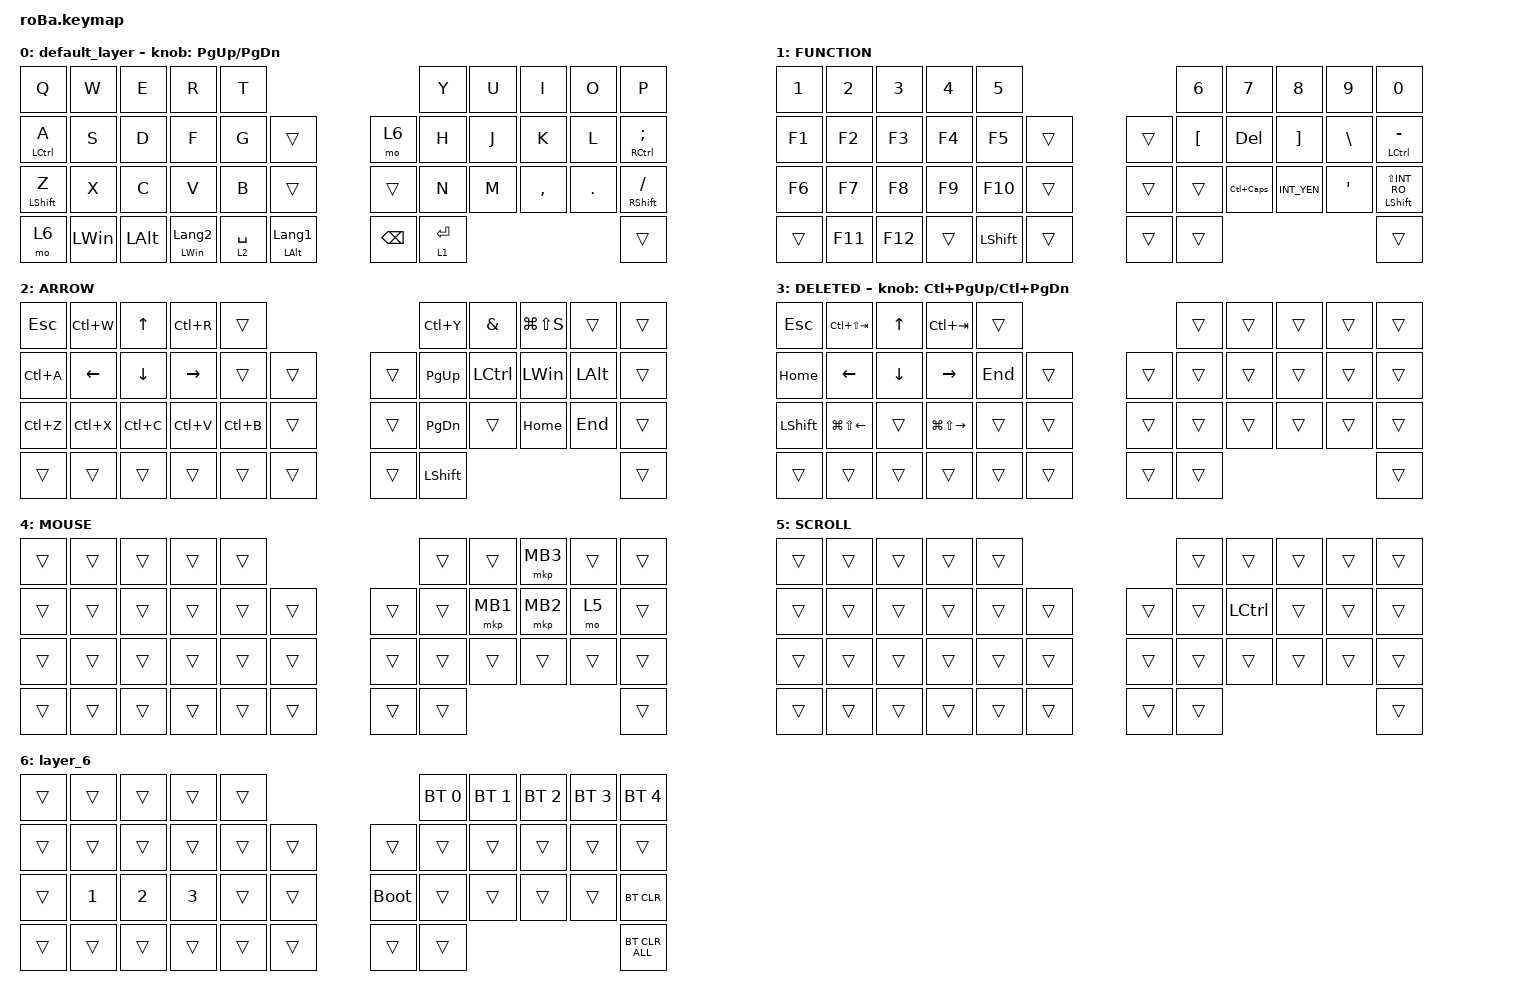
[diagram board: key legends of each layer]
#include <behaviors.dtsi>
#include <dt-bindings/zmk/bt.h>
#include <dt-bindings/zmk/keys.h>
#include <dt-bindings/zmk/pointing.h>

&mt {
    flavor = "balanced";
    quick-tap-ms = <200>;
};

&trackball {
    // automouse-layer = <4>;

    scroll-layers = <5>;

    // arrows {
    //     layers = <3>;
    //     bindings =
    //         <&kp RIGHT_ARROW>,
    //         <&kp LEFT_ARROW>,
    //         <&kp UP_ARROW>,
    //         <&kp DOWN_ARROW>;
    //     tick = <10>;
    //     wait-ms = <5>;
    //     tap-ms = <5>;
    // };
};

/ {
    combos {
        compatible = "zmk,combos";

        shift_tab {
            bindings = <&kp LS(TAB)>;
            key-positions = <11 12>;
        };

        tab {
            bindings = <&kp TAB>;
            key-positions = <12 13>;
        };

        prev {
            bindings = <&kp LA(LEFT_ARROW)>;
            key-positions = <19 18>;
        };

        next {
            bindings = <&kp LA(RIGHT_ARROW)>;
            key-positions = <19 20>;
        };

        prev_tab {
            bindings = <&kp LC(LS(TAB))>;
            key-positions = <30 31>;
        };

        next_tab {
            bindings = <&kp LC(TAB)>;
            key-positions = <31 32>;
        };

        prev_desk {
            bindings = <&kp LC(LG(LEFT))>;
            key-positions = <24 23>;
        };

        next_desk {
            bindings = <&kp LC(LG(RIGHT))>;
            key-positions = <24 25>;
        };

        reopen_tab {
            bindings = <&kp LS(LC(T))>;
            key-positions = <6 7>;
        };

        close_tab {
            bindings = <&kp LC(W)>;
            key-positions = <8 7>;
        };

        win_left {
            bindings = <&kp LG(LEFT_ARROW)>;
            key-positions = <1 2>;
        };

        win_right {
            bindings = <&kp LG(RIGHT_ARROW)>;
            key-positions = <2 3>;
        };
    };

    macros {
        to_layer_0: to_layer_0 {
            compatible = "zmk,behavior-macro-one-param";
            #binding-cells = <1>;
            bindings = <&to 0 &macro_param_1to1 &kp MACRO_PLACEHOLDER>;
            label = "TO_LAYER_0";
        };
    };

    behaviors {
        lt_to_layer_0: lt_to_layer_0 {
            compatible = "zmk,behavior-hold-tap";
            label = "LAYER_TAP_TO_0";
            bindings = <&mo>, <&to_layer_0>;

            #binding-cells = <2>;
            tapping-term-ms = <200>;
        };
    };

    keymap {
        compatible = "zmk,keymap";

        default_layer {
            bindings = <
&kp Q             &kp W         &kp E         &kp R                    &kp T                                                    &kp Y        &kp U  &kp I      &kp O    &kp P
&mt LCTRL A       &kp S         &kp D         &kp F                    &kp G        &trans                       &mo 6          &kp H        &kp J  &kp K      &kp L    &mt RCTRL SEMICOLON
&mt LEFT_SHIFT Z  &kp X         &kp C         &kp V                    &kp B        &trans                       &trans         &kp N        &kp M  &kp COMMA  &kp DOT  &mt RIGHT_SHIFT SLASH
&mo 6             &kp LEFT_WIN  &kp LEFT_ALT  &mt LEFT_WIN LANGUAGE_2  &lt 2 SPACE  &mt LEFT_ALT LANGUAGE_1      &kp BACKSPACE  &lt 1 ENTER                             &trans
            >;

            sensor-bindings = <&inc_dec_kp PG_UP PAGE_DOWN>;
        };

        FUNCTION {
            bindings = <
&kp NUMBER_1  &kp NUMBER_2  &kp NUMBER_3  &kp NUMBER_4  &kp NUMBER_5                        &kp NUMBER_6      &kp NUMBER_7      &kp NUMBER_8  &kp NUMBER_9      &kp NUMBER_0
&kp F1        &kp F2        &kp F3        &kp F4        &kp F5          &trans      &trans  &kp LEFT_BRACKET  &kp DEL           &kp RBKT      &kp BSLH          &mt LCTRL MINUS
&kp F6        &kp F7        &kp F8        &kp F9        &kp F10         &trans      &trans  &trans            &kp LC(CAPSLOCK)  &kp INT_YEN   &kp SINGLE_QUOTE  &mt LEFT_SHIFT LS(INT_RO)
&trans        &kp F11       &kp F12       &trans        &kp LEFT_SHIFT  &trans      &trans  &trans                                                              &trans
            >;
        };

        ARROW {
            bindings = <
&kp ESCAPE  &kp LC(W)  &kp UP_ARROW  &kp LC(R)  &trans                         &kp LC(Y)       &kp AMPERSAND  &kp LG(LS(S))  &trans        &trans
&kp LC(A)   &kp LEFT   &kp DOWN      &kp RIGHT  &trans     &trans      &trans  &kp PAGE_UP     &kp LCTRL      &kp LEFT_WIN   &kp LEFT_ALT  &trans
&kp LC(Z)   &kp LC(X)  &kp LC(C)     &kp LC(V)  &kp LC(B)  &trans      &trans  &kp PAGE_DOWN   &trans         &kp HOME       &kp END       &trans
&trans      &trans     &trans        &trans     &trans     &trans      &trans  &kp LEFT_SHIFT                                              &trans
            >;
        };

        DELETED {
            bindings = <
&kp ESCAPE      &kp LC(LS(TAB))         &kp UP_ARROW    &kp LC(TAB)              &trans                       &trans  &trans  &trans  &trans  &trans
&kp HOME        &kp LEFT_ARROW          &kp DOWN_ARROW  &kp RIGHT_ARROW          &kp END  &trans      &trans  &trans  &trans  &trans  &trans  &trans
&kp LEFT_SHIFT  &kp LG(LS(LEFT_ARROW))  &trans          &kp LG(LS(RIGHT_ARROW))  &trans   &trans      &trans  &trans  &trans  &trans  &trans  &trans
&trans          &trans                  &trans          &trans                   &trans   &trans      &trans  &trans                          &trans
            >;

            sensor-bindings = <&inc_dec_kp LC(PAGE_UP) LC(PAGE_DOWN)>;
        };

        MOUSE {
            bindings = <
&trans  &trans  &trans  &trans  &trans                      &trans  &trans    &mkp MB3  &trans  &trans
&trans  &trans  &trans  &trans  &trans  &trans      &trans  &trans  &mkp MB1  &mkp MB2  &mo 5   &trans
&trans  &trans  &trans  &trans  &trans  &trans      &trans  &trans  &trans    &trans    &trans  &trans
&trans  &trans  &trans  &trans  &trans  &trans      &trans  &trans                              &trans
            >;
        };

        SCROLL {
            bindings = <
&trans  &trans  &trans  &trans  &trans                      &trans  &trans     &trans  &trans  &trans
&trans  &trans  &trans  &trans  &trans  &trans      &trans  &trans  &kp LCTRL  &trans  &trans  &trans
&trans  &trans  &trans  &trans  &trans  &trans      &trans  &trans  &trans     &trans  &trans  &trans
&trans  &trans  &trans  &trans  &trans  &trans      &trans  &trans                             &trans
            >;
        };

        layer_6 {
            bindings = <
&trans  &trans        &trans        &trans        &trans                           &bt BT_SEL 0  &bt BT_SEL 1  &bt BT_SEL 2  &bt BT_SEL 3  &bt BT_SEL 4
&trans  &trans        &trans        &trans        &trans  &trans      &trans       &trans        &trans        &trans        &trans        &trans
&trans  &kp NUMBER_1  &kp NUMBER_2  &kp NUMBER_3  &trans  &trans      &bootloader  &trans        &trans        &trans        &trans        &bt BT_CLR
&trans  &trans        &trans        &trans        &trans  &trans      &trans       &trans                                                  &bt BT_CLR_ALL
            >;
        };
    };
};
